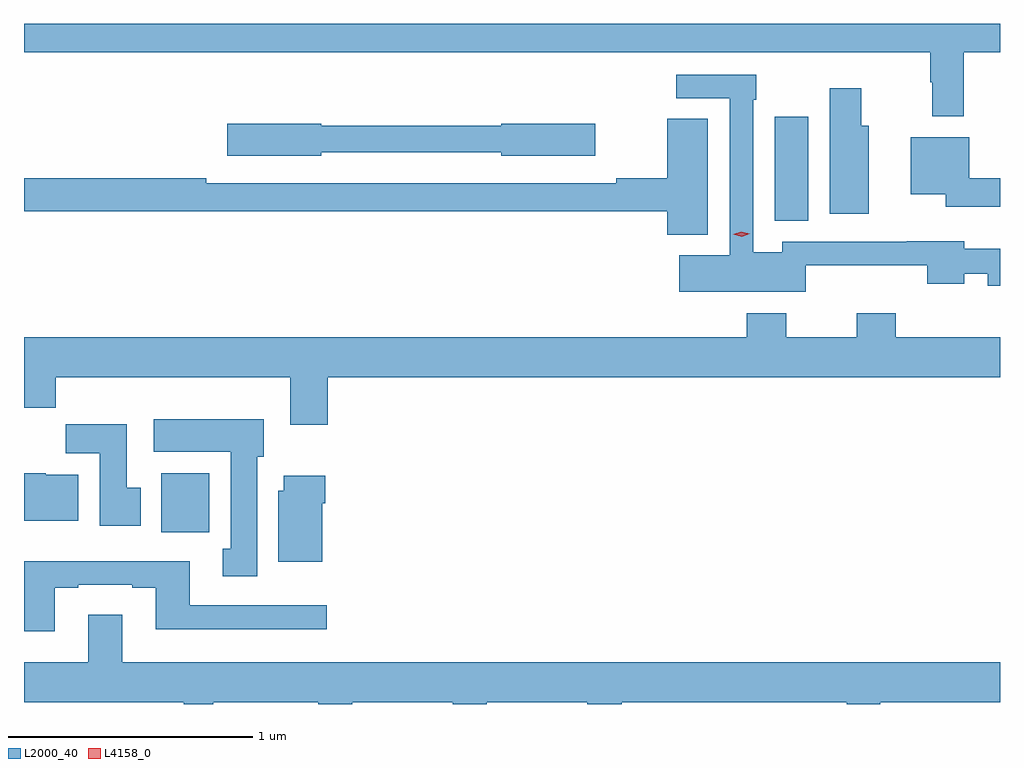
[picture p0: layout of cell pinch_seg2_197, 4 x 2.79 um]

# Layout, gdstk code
import gdstk
lib = gdstk.Library(unit=1e-6, precision=1e-09)
def R(c, l, rs):  # rectangles x0, y0, x1, y1
    for r in rs: c.add(gdstk.rectangle(r[:2], r[2:], *l))
def P(c, l, *ps):  # polygons
    for p in ps: c.add(gdstk.Polygon(p, *l))
L2000_40 = (2000, 40)
L4158_0 = (4158, 0)

pinch_seg2_197 = lib.new_cell('pinch_seg2_197')
R(pinch_seg2_197, L2000_40, [(981.803,664.316,982,664.558), (984.317,665.593,984.454,666.019)])
P(pinch_seg2_197, L2000_40, [(985.091,666.284),(985.24,666.284),(985.24,666.4),(981.24,666.4),(981.24,666.284),(984.955,666.284),(984.955,666.161),(984.963,666.161),(984.963,666.021),(985.091,666.021)],
  [(984.444,665.411),(984.941,665.411),(984.941,665.336),(985.093,665.336),(985.093,665.377),(985.19,665.377),(985.19,665.327),(985.24,665.327),(985.24,665.479),(985.093,665.479),(985.093,665.51),(984.857,665.51),(984.857,665.508),(984.348,665.508),(984.348,665.464),(984.228,665.464),(984.228,666.089),(984.241,666.089),(984.241,666.192),(983.913,666.192),(983.913,666.096),(984.132,666.096),(984.132,665.452),(983.925,665.452),(983.925,665.303),(984.444,665.303)],
  [(984.703,665.983),(984.672,665.983),(984.672,666.136),(984.542,666.136),(984.542,665.622),(984.703,665.622)],
  [(984.043,666.011),(983.876,666.011),(983.876,665.768),(983.668,665.768),(983.668,665.748),(981.986,665.748),(981.986,665.768),(981.24,665.768),(981.24,665.632),(983.876,665.632),(983.876,665.537),(984.043,665.537)],
  [(982.458,665.874),(983.196,665.874),(983.196,665.861),(983.581,665.861),(983.581,665.991),(983.196,665.991),(983.196,665.983),(982.458,665.983),(982.458,665.991),(982.074,665.991),(982.074,665.861),(982.458,665.861)],
  [(985.24,665.768),(985.113,665.768),(985.113,665.935),(984.875,665.935),(984.875,665.702),(985.017,665.702),(985.017,665.651),(985.24,665.651)],
  [(982.484,664.952),(985.24,664.952),(985.24,665.116),(984.812,665.116),(984.812,665.215),(984.652,665.215),(984.652,665.116),(984.363,665.116),(984.363,665.215),(984.203,665.215),(984.203,665.116),(981.24,665.116),(981.24,664.828),(981.371,664.828),(981.371,664.952),(982.331,664.952),(982.331,664.758),(982.484,664.758)],
  [(982.195,664.626),(982.222,664.626),(982.222,664.78),(981.771,664.78),(981.771,664.646),(982.088,664.646),(982.088,664.25),(982.055,664.25),(982.055,664.137),(982.195,664.137)],
  [(981.718,664.5),(981.661,664.5),(981.661,664.759),(981.412,664.759),(981.412,664.64),(981.551,664.64),(981.551,664.344),(981.718,664.344)],
  [(981.463,664.552),(981.33,664.552),(981.33,664.558),(981.24,664.558),(981.24,664.364),(981.463,664.364)],
  [(982.462,664.436),(982.475,664.436),(982.475,664.549),(982.304,664.549),(982.304,664.488),(982.283,664.488),(982.283,664.196),(982.462,664.196)],
  [(981.367,664.089),(981.463,664.089),(981.463,664.101),(981.683,664.101),(981.683,664.089),(981.779,664.089),(981.779,663.92),(982.48,663.92),(982.48,664.017),(981.919,664.017),(981.919,664.198),(981.24,664.198),(981.24,663.912),(981.367,663.912)],
  [(981.643,663.979),(981.503,663.979),(981.503,663.784),(981.24,663.784),(981.24,663.62),(981.894,663.62),(981.894,663.613),(982.015,663.613),(982.015,663.62),(982.445,663.62),(982.445,663.613),(982.585,663.613),(982.585,663.62),(982.997,663.62),(982.997,663.613),(983.137,663.613),(983.137,663.62),(983.549,663.62),(983.549,663.613),(983.689,663.613),(983.689,663.62),(984.611,663.62),(984.611,663.613),(984.75,663.613),(984.75,663.62),(985.24,663.62),(985.24,663.784),(981.643,663.784)])
P(pinch_seg2_197, L4158_0, [(984.181,665.529),(984.146,665.538),(984.146,665.538),(984.146,665.538),(984.18,665.549),(984.215,665.54),(984.215,665.54),(984.215,665.54)])

lib.write_gds('pinch_seg2_197.gds')
